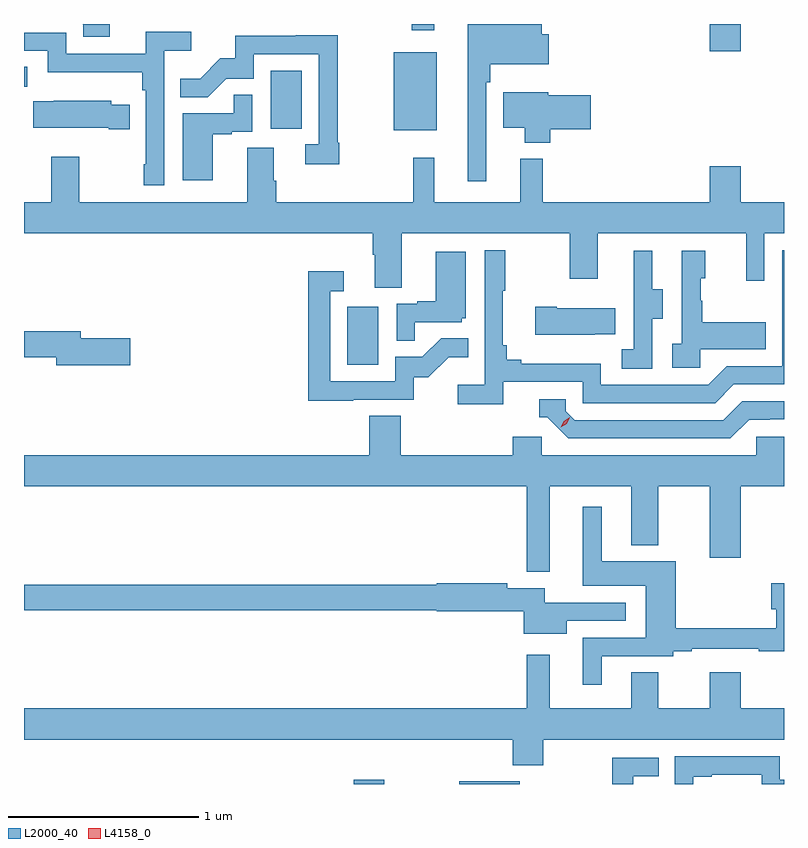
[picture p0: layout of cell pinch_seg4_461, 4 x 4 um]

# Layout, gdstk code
import gdstk
lib = gdstk.Library(unit=1e-6, precision=1e-09)
def R(c, l, rs):  # rectangles x0, y0, x1, y1
    for r in rs: c.add(gdstk.rectangle(r[:2], r[2:], *l))
def P(c, l, *ps):  # polygons
    for p in ps: c.add(gdstk.Polygon(p, *l))
L2000_40 = (2000, 40)
L4158_0 = (4158, 0)

pinch_seg4_461 = lib.new_cell('pinch_seg4_461')
R(pinch_seg4_461, L2000_40, [(894.404,765.95,894.565,765.973), (894.959,765.95,895.277,765.964), (894.368,768.156,894.532,768.463), (894.614,769.391,894.841,769.801), (893.966,769.398,894.13,769.705), (892.668,769.621,892.684,769.724), (896.276,769.806,896.44,769.95), (894.709,769.917,894.826,769.95)])
P(pinch_seg4_461, L2000_40, [(895.101,769.643),(895.121,769.643),(895.121,769.739),(895.429,769.739),(895.429,769.897),(895.394,769.897),(895.394,769.95),(895.004,769.95),(895.004,769.122),(895.101,769.122)],
  [(893.119,769.95),(892.977,769.95),(892.98,769.947),(892.98,769.884),(893.119,769.884)],
  [(893.406,769.808),(893.548,769.808),(893.548,769.91),(893.309,769.91),(893.309,769.794),(892.89,769.794),(892.89,769.905),(892.668,769.905),(892.668,769.809),(892.794,769.809),(892.794,769.697),(893.29,769.697),(893.29,769.601),(893.31,769.601),(893.31,769.213),(893.298,769.213),(893.298,769.101),(893.406,769.101)],
  [(894.328,769.324),(894.32,769.324),(894.32,769.892),(894.097,769.892),(894.097,769.887),(893.779,769.887),(893.779,769.77),(893.702,769.77),(893.595,769.663),(893.491,769.663),(893.491,769.564),(893.635,769.564),(893.733,769.662),(893.877,769.662),(893.877,769.791),(894.219,769.791),(894.219,769.317),(894.147,769.317),(894.147,769.212),(894.328,769.212)],
  [(895.439,769.396),(895.651,769.396),(895.651,769.574),(895.426,769.574),(895.426,769.591),(895.19,769.591),(895.19,769.403),(895.304,769.403),(895.304,769.325),(895.439,769.325)],
  [(893.662,769.371),(893.762,769.371),(893.762,769.383),(893.868,769.383),(893.868,769.577),(893.773,769.577),(893.773,769.479),(893.504,769.479),(893.504,769.128),(893.662,769.128)],
  [(893.225,769.525),(893.127,769.525),(893.127,769.546),(892.825,769.546),(892.825,769.543),(892.717,769.543),(892.717,769.403),(893.114,769.403),(893.114,769.396),(893.225,769.396)],
  [(894.655,768.848),(895.54,768.848),(895.54,768.609),(895.687,768.609),(895.687,768.848),(896.468,768.848),(896.468,768.6),(896.565,768.6),(896.565,768.848),(896.668,768.848),(896.668,769.012),(896.44,769.012),(896.44,769.201),(896.276,769.201),(896.276,769.012),(895.397,769.012),(895.397,769.24),(895.28,769.24),(895.28,769.012),(894.827,769.012),(894.827,769.246),(894.717,769.246),(894.717,769.012),(893.996,769.012),(893.996,769.124),(893.983,769.124),(893.983,769.298),(893.843,769.298),(893.843,769.012),(892.959,769.012),(892.959,769.252),(892.811,769.252),(892.811,769.012),(892.668,769.012),(892.668,768.848),(894.503,768.848),(894.503,768.736),(894.515,768.736),(894.515,768.562),(894.655,768.562)],
  [(895.19,768.066),(895.608,768.066),(895.608,767.955),(896.305,767.955),(896.404,768.054),(896.668,768.054),(896.668,768.759),(896.658,768.759),(896.658,768.15),(896.367,768.15),(896.268,768.051),(895.704,768.051),(895.704,768.163),(895.285,768.163),(895.285,768.182),(895.208,768.182),(895.208,768.259),(895.189,768.259),(895.189,768.547),(895.201,768.547),(895.201,768.76),(895.092,768.76),(895.092,768.052),(894.951,768.052),(894.951,767.95),(895.19,767.95)],
  [(895.974,768.4),(896.029,768.4),(896.029,768.555),(895.975,768.555),(895.975,768.757),(895.877,768.757),(895.877,768.543),(895.878,768.543),(895.878,768.239),(895.815,768.239),(895.815,768.136),(895.974,768.136)],
  [(896.226,768.239),(896.573,768.239),(896.573,768.379),(896.239,768.379),(896.239,768.494),(896.229,768.494),(896.229,768.612),(896.254,768.612),(896.254,768.757),(896.13,768.757),(896.13,768.266),(896.079,768.266),(896.079,768.141),(896.226,768.141)],
  [(894.725,768.381),(894.972,768.381),(894.972,768.402),(894.994,768.402),(894.994,768.751),(894.836,768.751),(894.836,768.49),(894.737,768.49),(894.737,768.477),(894.63,768.477),(894.63,768.283),(894.725,768.283)],
  [(894.401,767.973),(894.72,767.973),(894.72,768.09),(894.796,768.09),(894.903,768.197),(895.007,768.197),(895.007,768.296),(894.863,768.296),(894.765,768.198),(894.621,768.198),(894.621,768.069),(894.279,768.069),(894.279,768.543),(894.352,768.543),(894.352,768.649),(894.163,768.649),(894.163,767.968),(894.401,767.968)],
  [(895.673,768.317),(895.781,768.317),(895.781,768.454),(895.471,768.454),(895.471,768.462),(895.359,768.462),(895.359,768.314),(895.673,768.314)],
  [(893.227,768.296),(892.966,768.296),(892.966,768.332),(892.668,768.332),(892.668,768.196),(892.838,768.196),(892.838,768.154),(893.227,768.154)],
  [(896.485,767.868),(896.592,767.868),(896.592,767.871),(896.668,767.871),(896.668,767.964),(896.448,767.964),(896.349,767.865),(895.566,767.865),(895.518,767.913),(895.518,767.976),(895.379,767.976),(895.379,767.88),(895.422,767.88),(895.533,767.769),(896.386,767.769)],
  [(895.435,767.516),(895.865,767.516),(895.865,767.207),(896.005,767.207),(896.005,767.516),(896.276,767.516),(896.276,767.142),(896.44,767.142),(896.44,767.516),(896.668,767.516),(896.668,767.778),(896.523,767.778),(896.523,767.68),(895.392,767.68),(895.392,767.778),(895.241,767.778),(895.241,767.68),(894.65,767.68),(894.65,767.888),(894.485,767.888),(894.485,767.68),(892.668,767.68),(892.668,767.516),(895.314,767.516),(895.314,767.067),(895.435,767.067)],
  [(895.708,766.623),(896.086,766.623),(896.086,766.65),(896.182,766.65),(896.182,766.662),(896.536,766.662),(896.536,766.65),(896.668,766.65),(896.668,767.006),(896.6,767.006),(896.6,766.871),(896.627,766.871),(896.627,766.771),(896.099,766.771),(896.099,767.122),(895.708,767.122),(895.708,767.41),(895.61,767.41),(895.61,766.994),(895.94,766.994),(895.94,766.719),(895.61,766.719),(895.61,766.473),(895.708,766.473)],
  [(895.525,766.809),(895.834,766.809),(895.834,766.905),(895.408,766.905),(895.408,766.981),(895.212,766.981),(895.212,767.006),(894.84,767.006),(894.84,767),(892.668,767),(892.668,766.864),(894.84,766.864),(894.84,766.859),(895.298,766.859),(895.298,766.742),(895.525,766.742)],
  [(895.401,766.184),(896.668,766.184),(896.668,766.348),(896.44,766.348),(896.44,766.537),(896.276,766.537),(896.276,766.348),(896.005,766.348),(896.005,766.538),(895.865,766.538),(895.865,766.348),(895.435,766.348),(895.435,766.63),(895.314,766.63),(895.314,766.348),(892.668,766.348),(892.668,766.184),(895.241,766.184),(895.241,766.049),(895.401,766.049)],
  [(896.191,765.987),(896.287,765.987),(896.287,765.999),(896.55,765.999),(896.55,765.95),(896.668,765.95),(896.668,765.972),(896.646,765.972),(896.646,766.095),(896.094,766.095),(896.094,765.95),(896.191,765.95)],
  [(895.875,765.992),(896.009,765.992),(896.009,766.089),(895.764,766.089),(895.764,765.95),(895.875,765.95)])
P(pinch_seg4_461, L4158_0, [(895.494,767.828),(895.494,767.828),(895.51,767.86),(895.541,767.879),(895.541,767.879),(895.541,767.879),(895.525,767.847),(895.494,767.828)])

lib.write_gds('pinch_seg4_461.gds')
